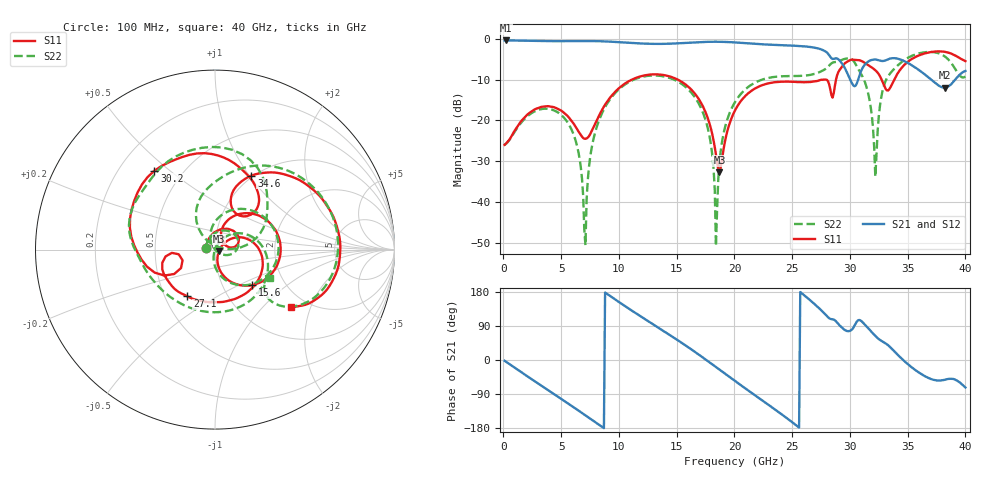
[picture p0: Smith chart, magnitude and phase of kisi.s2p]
! BV_ts_refinout2: ThunderScope 50 Ω REFINOUT2, through via F.Cu → B.Cu (thick core)
! stackup: Thunderscope_Rev5.3 from the board file and its kisi.json
! ports: 1 in, 2 out
! kisi-fdtd, conformal, dfine 0.035 mm, 1189888 cells
# Hz S RI R 50
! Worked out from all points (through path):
!   400 points, 100 MHz to 40 GHz, reference 50 ohm
!   highest |S21| = -0.45 dB at 200 MHz (marker M1); lowest = -12.0 dB at 38.2 GHz (marker M2)
!   group delay of S21, straight-line fit = 57.2 ps
!   lowest |S11| = -32.6 dB at 18.7 GHz (marker M3), VSWR 1.05, Z = 52.3 - j0.777 ohm
!   |S11| at or under -10 dB: start of sweep to 11.14 GHz; 15.08 GHz to 28.8 GHz (13.71 GHz wide, 62.5 % of centre); 32.74 GHz to 33.84 GHz (1.104 GHz wide, 3.32 % of centre)
!   |S22| runs from -50.7 to -3.3 dB; largest |S21 - S12| = 0.0021
!   S11 on the Smith chart (normalised r, x): 100 MHz: 0.90, +0.01; 15.6 GHz: 1.38, -0.59; 27.1 GHz: 0.65, -0.37; 30.2 GHz: 0.35, +0.44; 34.6 GHz: 0.98, +1.02; 40 GHz: 1.65, -1.47
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1e8  -0.0499 0.0072  0.949 -0.0346  0.9488 -0.0344  -0.05 0.00744
2e8  -0.0496 0.0148  0.9471 -0.0692  0.9472 -0.069  -0.0493 0.0149
4.5e9  0.1329 0.0532  -0.0403 -0.9294  -0.0402 -0.9297  0.1291 0.0184
6.8e9  0.059 0.0234  -0.7136 -0.6038  -0.7136 -0.6036  0.0143 -0.0133
7.1e9  0.0479 0.0356  -0.7755 -0.5222  -0.7755 -0.5223  -0.00173 0.00243
7.4e9  0.0394 0.0505  -0.8279 -0.4334  -0.828 -0.4333  -0.0144 0.0223
8.4e9  0.0403 0.1175  -0.923 -0.1052  -0.9228 -0.1054  -0.0215 0.1091
1.34e10  0.3641 -0.0264  0.0656 0.8594  0.0656 0.8595  0.3524 -0.0166
1.56e10  0.2074 -0.1976  0.657 0.5907  0.6572 0.5907  0.183 -0.197
1.78e10  0.0194 -0.0941  0.9107 -0.0826  0.9107 -0.0827  -0.00616 -0.0686
1.84e10  0.0149 -0.0354  0.8683 -0.2914  0.8684 -0.2915  -0.000919 -0.00276
1.87e10  0.0222 -0.00743  0.8275 -0.3906  0.8274 -0.3904  0.0132 0.0271
2.01e10  0.1192 0.0675  0.4953 -0.7484  0.4954 -0.7482  0.1464 0.0907
2.67e10  -0.0899 -0.2829  -0.7061 0.3438  -0.7054 0.345  -0.2562 -0.2585
2.71e10  -0.1547 -0.2598  -0.6133 0.4596  -0.6149 0.4594  -0.3183 -0.2013
3.02e10  -0.3375 0.4396  0.0425 0.2781  0.0413 0.2785  0.1507 0.532
3.17e10  0.1663 0.4307  0.0936 0.5282  0.0933 0.5285  0.1757 0.0256
3.22e10  0.2318 0.3386  0.2467 0.498  0.246 0.4975  0.0131 0.0159
3.34e10  0.1024 0.2165  0.4545 0.3365  0.4538 0.3356  -0.0183 0.3621
3.46e10  0.2031 0.4125  0.5403 0.0019  0.5402 0.00139  0.2532 0.4688
3.82e10  0.681 -0.1151  0.1535 -0.1987  0.1534 -0.1981  0.5427 -0.2751
4e10  0.4231 -0.3204  0.1215 -0.3841  0.1213 -0.3856  0.3052 -0.1588
